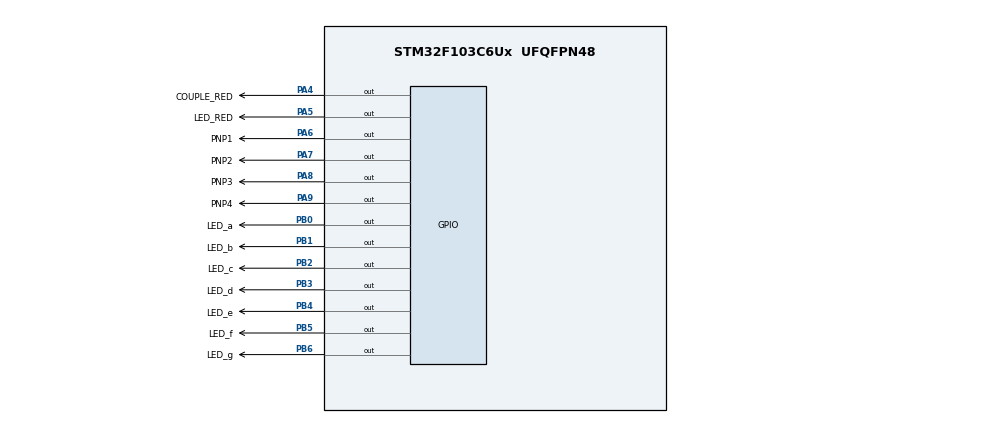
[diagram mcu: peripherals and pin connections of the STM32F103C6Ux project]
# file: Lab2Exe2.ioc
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Mcu.Family=STM32F1
Mcu.Name=STM32F103C6Ux
Mcu.Package=UFQFPN48
NVIC.PriorityGroup=NVIC_PRIORITYGROUP_4
NVIC.TIM2_IRQn=true\:0\:0\:false\:false\:true\:true\:true
PA4.GPIO_Label=COUPLE_RED
PA4.Signal=GPIO_Output
PA5.GPIO_Label=LED_RED
PA5.Signal=GPIO_Output
PA6.GPIO_Label=PNP1
PA6.Signal=GPIO_Output
PA7.GPIO_Label=PNP2
PA7.Signal=GPIO_Output
PA8.GPIO_Label=PNP3
PA8.Signal=GPIO_Output
PA9.GPIO_Label=PNP4
PA9.Signal=GPIO_Output
PB0.GPIO_Label=LED_a
PB0.Signal=GPIO_Output
PB1.GPIO_Label=LED_b
PB1.Signal=GPIO_Output
PB2.GPIO_Label=LED_c
PB2.Signal=GPIO_Output
PB3.GPIO_Label=LED_d
PB3.Signal=GPIO_Output
PB4.GPIO_Label=LED_e
PB4.Signal=GPIO_Output
PB5.GPIO_Label=LED_f
PB5.Signal=GPIO_Output
PB6.GPIO_Label=LED_g
PB6.Signal=GPIO_Output
ProjectManager.HeapSize=0x200
ProjectManager.StackSize=0x400
ProjectManager.TargetToolchain=STM32CubeIDE
RCC.APB1Freq_Value=8000000
RCC.APB2Freq_Value=8000000
TIM2.Period=9
TIM2.Prescaler=7999
VP_SYS_VS_ND.Mode=No_Debug
VP_TIM2_VS_ClockSourceINT.Mode=Internal
board=custom

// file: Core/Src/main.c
/* USER CODE BEGIN Header */
/**
  ******************************************************************************
  * @file           : main.c
  * @brief          : Main program body
  ******************************************************************************
  * @attention
  *
  * <h2><center>&copy; Copyright (c) 2022 STMicroelectronics.
  * All rights reserved.</center></h2>
  *
  * This software component is licensed by ST under BSD 3-Clause license,
  * the "License"; You may not use this file except in compliance with the
  * License. You may obtain a copy of the License at:
  *                        opensource.org/licenses/BSD-3-Clause
  *
  ******************************************************************************
  */
/* USER CODE END Header */
#include "main.h"

TIM_HandleTypeDef htim2;

void SystemClock_Config(void);
static void MX_GPIO_Init(void);
static void MX_TIM2_Init(void);

int main(void)
{

  /* MCU Configuration--------------------------------------------------------*/

  /* Reset of all peripherals, Initializes the Flash interface and the Systick. */
  HAL_Init();

  /* Configure the system clock */
  SystemClock_Config();

  /* Initialize all configured peripherals */
  MX_GPIO_Init();
  MX_TIM2_Init();
  /* USER CODE BEGIN 2 */
  HAL_TIM_Base_Start_IT(&htim2);
  /* USER CODE END 2 */

  /* Infinite loop */
  while (1)
  {

  }
}

void SystemClock_Config(void)
{
  RCC_OscInitTypeDef RCC_OscInitStruct = {0};
  RCC_ClkInitTypeDef RCC_ClkInitStruct = {0};

  /** Initializes the RCC Oscillators according to the specified parameters
  * in the RCC_OscInitTypeDef structure.
  */
  RCC_OscInitStruct.OscillatorType = RCC_OSCILLATORTYPE_HSI;
  RCC_OscInitStruct.HSIState = RCC_HSI_ON;
  RCC_OscInitStruct.HSICalibrationValue = RCC_HSICALIBRATION_DEFAULT;
  RCC_OscInitStruct.PLL.PLLState = RCC_PLL_NONE;
  if (HAL_RCC_OscConfig(&RCC_OscInitStruct) != HAL_OK)
  {
    Error_Handler();
  }
  /** Initializes the CPU, AHB and APB buses clocks
  */
  RCC_ClkInitStruct.ClockType = RCC_CLOCKTYPE_HCLK|RCC_CLOCKTYPE_SYSCLK
                              |RCC_CLOCKTYPE_PCLK1|RCC_CLOCKTYPE_PCLK2;
  RCC_ClkInitStruct.SYSCLKSource = RCC_SYSCLKSOURCE_HSI;
  RCC_ClkInitStruct.AHBCLKDivider = RCC_SYSCLK_DIV1;
  RCC_ClkInitStruct.APB1CLKDivider = RCC_HCLK_DIV1;
  RCC_ClkInitStruct.APB2CLKDivider = RCC_HCLK_DIV1;

  if (HAL_RCC_ClockConfig(&RCC_ClkInitStruct, FLASH_LATENCY_0) != HAL_OK)
  {
    Error_Handler();
  }
}

static void MX_TIM2_Init(void)
{

  TIM_ClockConfigTypeDef sClockSourceConfig = {0};
  TIM_MasterConfigTypeDef sMasterConfig = {0};

  htim2.Instance = TIM2;
  htim2.Init.Prescaler = 7999;
  htim2.Init.CounterMode = TIM_COUNTERMODE_UP;
  htim2.Init.Period = 9;
  htim2.Init.ClockDivision = TIM_CLOCKDIVISION_DIV1;
  htim2.Init.AutoReloadPreload = TIM_AUTORELOAD_PRELOAD_DISABLE;
  if (HAL_TIM_Base_Init(&htim2) != HAL_OK)
  {
    Error_Handler();
  }
  sClockSourceConfig.ClockSource = TIM_CLOCKSOURCE_INTERNAL;
  if (HAL_TIM_ConfigClockSource(&htim2, &sClockSourceConfig) != HAL_OK)
  {
    Error_Handler();
  }
  sMasterConfig.MasterOutputTrigger = TIM_TRGO_RESET;
  sMasterConfig.MasterSlaveMode = TIM_MASTERSLAVEMODE_DISABLE;
  if (HAL_TIMEx_MasterConfigSynchronization(&htim2, &sMasterConfig) != HAL_OK)
  {
    Error_Handler();
  }

}

static void MX_GPIO_Init(void)
{
  GPIO_InitTypeDef GPIO_InitStruct = {0};

  /* GPIO Ports Clock Enable */
  __HAL_RCC_GPIOA_CLK_ENABLE();
  __HAL_RCC_GPIOB_CLK_ENABLE();

  /*Configure GPIO pin Output Level */
  HAL_GPIO_WritePin(GPIOA, COUPLE_RED_Pin|LED_RED_Pin|PNP1_Pin|PNP2_Pin
                          |PNP3_Pin|PNP4_Pin, GPIO_PIN_RESET);

  /*Configure GPIO pin Output Level */
  HAL_GPIO_WritePin(GPIOB, LED_a_Pin|LED_b_Pin|LED_c_Pin|LED_d_Pin
                          |LED_e_Pin|LED_f_Pin|LED_g_Pin, GPIO_PIN_RESET);

  /*Configure GPIO pins : COUPLE_RED_Pin LED_RED_Pin PNP1_Pin PNP2_Pin
                           PNP3_Pin PNP4_Pin */
  GPIO_InitStruct.Pin = COUPLE_RED_Pin|LED_RED_Pin|PNP1_Pin|PNP2_Pin
                          |PNP3_Pin|PNP4_Pin;
  GPIO_InitStruct.Mode = GPIO_MODE_OUTPUT_PP;
  GPIO_InitStruct.Pull = GPIO_NOPULL;
  GPIO_InitStruct.Speed = GPIO_SPEED_FREQ_LOW;
  HAL_GPIO_Init(GPIOA, &GPIO_InitStruct);

  /*Configure GPIO pins : LED_a_Pin LED_b_Pin LED_c_Pin LED_d_Pin
                           LED_e_Pin LED_f_Pin LED_g_Pin */
  GPIO_InitStruct.Pin = LED_a_Pin|LED_b_Pin|LED_c_Pin|LED_d_Pin
                          |LED_e_Pin|LED_f_Pin|LED_g_Pin;
  GPIO_InitStruct.Mode = GPIO_MODE_OUTPUT_PP;
  GPIO_InitStruct.Pull = GPIO_NOPULL;
  GPIO_InitStruct.Speed = GPIO_SPEED_FREQ_LOW;
  HAL_GPIO_Init(GPIOB, &GPIO_InitStruct);

}

/* USER CODE BEGIN 4 */
int count = 50, status = 1;
void HAL_TIM_PeriodElapsedCallback(TIM_HandleTypeDef *htim){
	if (status == 1) {
		HAL_GPIO_WritePin(PNP1_GPIO_Port, PNP1_Pin, RESET);
		HAL_GPIO_WritePin(PNP2_GPIO_Port, PNP2_Pin, SET);
		HAL_GPIO_WritePin(PNP3_GPIO_Port, PNP3_Pin, SET);
		HAL_GPIO_WritePin(PNP4_GPIO_Port, PNP4_Pin, SET);

		count--;
		HAL_GPIO_WritePin(LED_a_GPIO_Port, LED_a_Pin, SET);
		HAL_GPIO_WritePin(LED_b_GPIO_Port, LED_b_Pin, RESET);
		HAL_GPIO_WritePin(LED_c_GPIO_Port, LED_c_Pin, RESET);
		HAL_GPIO_WritePin(LED_d_GPIO_Port, LED_d_Pin, SET);
		HAL_GPIO_WritePin(LED_e_GPIO_Port, LED_e_Pin, SET);
		HAL_GPIO_WritePin(LED_f_GPIO_Port, LED_f_Pin, SET);
		HAL_GPIO_WritePin(LED_g_GPIO_Port, LED_g_Pin, SET);

		if (count <= 0) {
			count = 50;
			HAL_GPIO_WritePin(PNP1_GPIO_Port, PNP1_Pin, SET);
			HAL_GPIO_WritePin(PNP2_GPIO_Port, PNP2_Pin, RESET);
			status = 2;
		}
	}

	if (status == 2) {
		count--;
		HAL_GPIO_WritePin(LED_a_GPIO_Port, LED_a_Pin, RESET);
		HAL_GPIO_WritePin(LED_c_GPIO_Port, LED_c_Pin, SET);
		HAL_GPIO_WritePin(LED_d_GPIO_Port, LED_d_Pin, RESET);
		HAL_GPIO_WritePin(LED_e_GPIO_Port, LED_e_Pin, RESET);
		HAL_GPIO_WritePin(LED_g_GPIO_Port, LED_g_Pin, RESET);

		if (count <= 0) {
			count = 50;
			HAL_GPIO_WritePin(PNP2_GPIO_Port, PNP2_Pin, SET);
			HAL_GPIO_WritePin(PNP3_GPIO_Port, PNP3_Pin, RESET);
			status = 3;
		}
	}

	if (status == 3) {
		count--;
		HAL_GPIO_WritePin(COUPLE_RED_GPIO_Port, COUPLE_RED_Pin, SET);
		HAL_GPIO_WritePin(LED_c_GPIO_Port, LED_c_Pin, RESET);
		HAL_GPIO_WritePin(LED_e_GPIO_Port, LED_e_Pin, SET);

		if (count <= 0) {
			count = 50;
			HAL_GPIO_WritePin(PNP3_GPIO_Port, PNP3_Pin, SET);
			HAL_GPIO_WritePin(PNP4_GPIO_Port, PNP4_Pin, RESET);
			status = 4;
		}
	}

	if (status == 4) {
		count--;
		HAL_GPIO_WritePin(LED_e_GPIO_Port, LED_e_Pin, RESET);
		HAL_GPIO_WritePin(LED_f_GPIO_Port, LED_f_Pin, RESET);
		HAL_GPIO_WritePin(LED_g_GPIO_Port, LED_g_Pin, SET);

		if (count <= 0) {
			HAL_GPIO_WritePin(COUPLE_RED_GPIO_Port, COUPLE_RED_Pin, RESET);
			count = 50;
			status = 1;
		}
	}
}
/* USER CODE END 4 */

void Error_Handler(void)
{
  __disable_irq();
  while (1)
  {
  }
}

/************************ (C) COPYRIGHT STMicroelectronics *****END OF FILE****/
